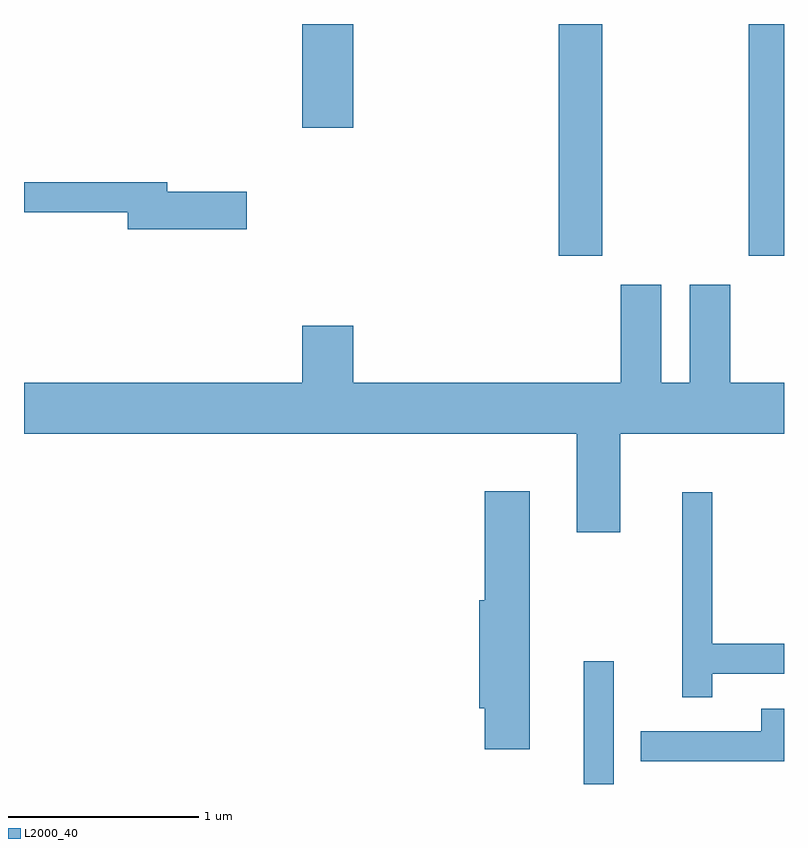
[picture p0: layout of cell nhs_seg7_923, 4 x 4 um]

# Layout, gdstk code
import gdstk
lib = gdstk.Library(unit=1e-6, precision=1e-09)
def R(c, l, rs):  # rectangles x0, y0, x1, y1
    for r in rs: c.add(gdstk.rectangle(r[:2], r[2:], *l))
def P(c, l, *ps):  # polygons
    for p in ps: c.add(gdstk.Polygon(p, *l))
L2000_40 = (2000, 40)

nhs_seg7_923 = lib.new_cell('nhs_seg7_923')
R(nhs_seg7_923, L2000_40, [(216.556,1710.252,216.714,1710.898), (216.426,1713.031,216.654,1714.252), (217.426,1713.031,217.611,1714.252), (215.076,1713.706,215.344,1714.252)])
P(nhs_seg7_923, L2000_40, [(214.784,1713.369),(214.364,1713.369),(214.364,1713.419),(213.611,1713.419),(213.611,1713.261),(214.156,1713.261),(214.156,1713.171),(214.784,1713.171)],
  [(216.749,1712.096),(217.611,1712.096),(217.611,1712.364),(217.329,1712.364),(217.329,1712.879),(217.116,1712.879),(217.116,1712.364),(216.964,1712.364),(216.964,1712.879),(216.751,1712.879),(216.751,1712.364),(215.344,1712.364),(215.344,1712.664),(215.076,1712.664),(215.076,1712.364),(213.611,1712.364),(213.611,1712.096),(216.521,1712.096),(216.521,1711.576),(216.749,1711.576)],
  [(216.274,1711.794),(216.036,1711.794),(216.036,1711.219),(216.006,1711.219),(216.006,1710.651),(216.036,1710.651),(216.036,1710.436),(216.274,1710.436)],
  [(217.234,1710.831),(217.611,1710.831),(217.611,1710.989),(217.234,1710.989),(217.234,1711.788),(217.076,1711.788),(217.076,1710.708),(217.234,1710.708)],
  [(217.611,1710.649),(217.491,1710.649),(217.491,1710.529),(216.858,1710.529),(216.858,1710.371),(217.611,1710.371)])

lib.write_gds('nhs_seg7_923.gds')
